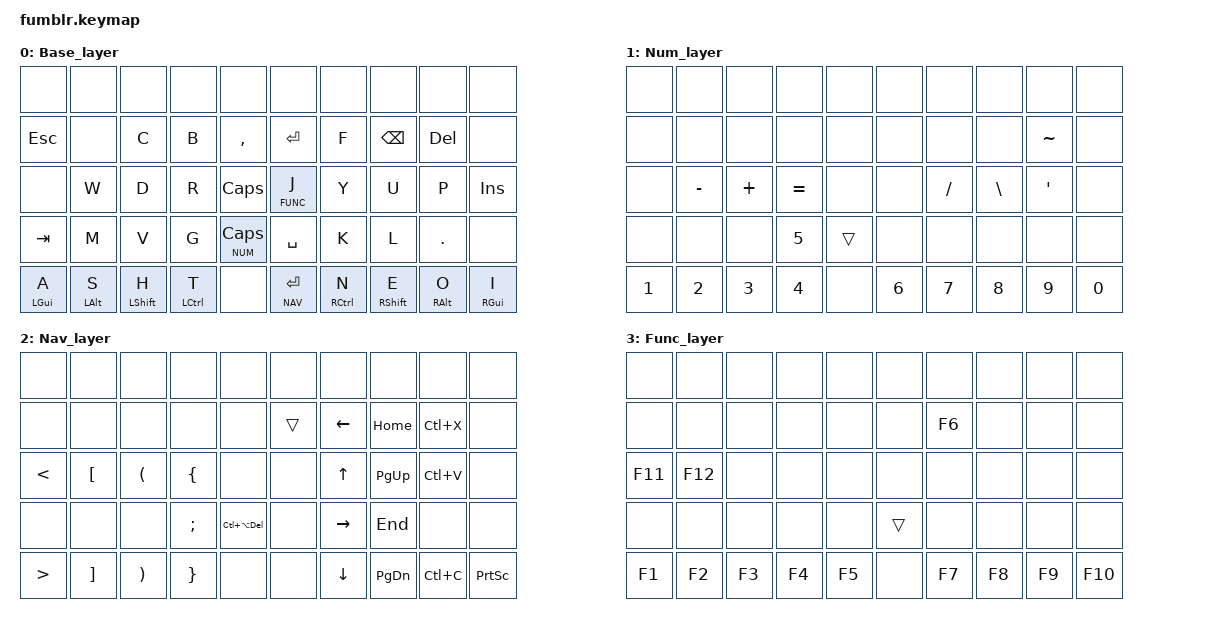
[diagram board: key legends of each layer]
#include <behaviors.dtsi>
#include <dt-bindings/zmk/keys.h>
#include <dt-bindings/zmk/bt.h>

#define BASE 0
#define NUM 1
#define NAV 2
#define FUNC 3

/ {
  combos {
    compatible = "zmk,combos";

    combo_BTCLR {
      timeout-ms = <50>;
      key-positions = <22 23>;
      layers = <NAV>;
      bindings = <&bt BT_CLR>;
    };

    combo_BT1 {
      timeout-ms = <50>;
      key-positions = <20 21>;
      layers = <NAV>;
      bindings = <&bt BT_SEL 1>;
    };

    combo_BT2 {
      timeout-ms = <50>;
      key-positions = <40 41>;
      layers = <NAV>;
      bindings = <&bt BT_SEL 2>;
    };

    combo_J {
      timeout-ms = <50>;
      key-positions = <26 27>;
      layers = <BASE>;
      bindings = <&kp J>;
    };

    combo_Q {
      timeout-ms = <50>;
      key-positions = <21 22>;
      layers = <BASE>;
      bindings = <&kp Q>;
    };

    combo_Z {
      timeout-ms = <50>;
      key-positions = <41 42>;
      layers = <BASE>;
      bindings = <&kp Z>;
    };

    combo_X {
      timeout-ms = <50>;
      key-positions = <42 43>;
      layers = <BASE>;
      bindings = <&kp X>;
    };
  };

  behaviors {
    hm: homerow_mods {
      compatible = "zmk,behavior-hold-tap";
      #binding-cells = <2>;
      tapping-term-ms = <250>;
      flavor = "tap-preferred";
      bindings = <&kp>, <&kp>;
    };
  };
  keymap {
    compatible = "zmk,keymap";

    Base_layer {
      bindings = <
        &none       &none        &none        &none        &none                &none           &none        &none          &none       &none
        &kp ESC     &none        &kp C        &kp B        &kp COMMA            &kp RETURN      &kp F        &kp BACKSPACE  &kp DEL     &none
        &none       &kp W        &kp D        &kp R        &kp CAPSLOCK         &lt FUNC J      &kp Y        &kp U          &kp P       &kp INS
        &kp TAB     &kp M        &kp V        &kp G        &lt NUM CAPSLOCK     &kp SPACE       &kp K        &kp L          &kp DOT     &none
        &hm LGUI A  &hm LALT S   &hm LSHFT H  &hm LCTRL T  &none                &lt NAV RETURN  &hm RCTRL N  &hm RSHFT E    &hm RALT O  &hm RGUI I
      >;
    };

    Num_layer {
      bindings = <
        &none         &none         &none         &none         &none               &none         &none         &none          &none             &none
        &none         &none         &none         &none         &none               &none         &none         &none          &kp TILDE         &none
        &none         &kp MINUS     &kp PLUS      &kp EQUAL     &none               &none         &kp SLASH     &kp BACKSLASH  &kp SINGLE_QUOTE  &none
        &none         &none         &none         &kp NUMBER_5  &trans              &none         &none         &none          &none             &none
        &kp NUMBER_1  &kp NUMBER_2  &kp NUMBER_3  &kp NUMBER_4  &none               &kp NUMBER_6  &kp NUMBER_7  &kp NUMBER_8   &kp NUMBER_9      &kp NUMBER_0
      >;
    };

    Nav_layer {
      bindings = <
        &none   &none              &none                  &none            &none               &none   &none      &none       &none      &none
        &none   &none              &none                  &none            &none               &trans  &kp LEFT   &kp HOME    &kp LC(X)  &none
        &kp LT  &kp LEFT_BRACKET   &kp LEFT_PARENTHESIS   &kp LEFT_BRACE   &none               &none   &kp UP     &kp PG_UP   &kp LC(V)  &none
        &none   &none              &none                  &kp SEMICOLON    &kp LC(LA(DEL))     &none   &kp RIGHT  &kp END     &none      &none
        &kp GT  &kp RIGHT_BRACKET  &kp RIGHT_PARENTHESIS  &kp RIGHT_BRACE  &none               &none   &kp DOWN   &kp PG_DN   &kp LC(C)  &kp PRINTSCREEN
      >;
    };

    Func_layer {
      bindings = <
        &none    &none    &none   &none   &none        &none   &none   &none   &none   &none
        &none    &none    &none   &none   &none        &none   &kp F6  &none   &none   &none
        &kp F11  &kp F12  &none   &none   &none        &none   &none   &none   &none   &none
        &none    &none    &none   &none   &none        &trans  &none   &none   &none   &none
        &kp F1   &kp F2   &kp F3  &kp F4  &kp F5       &none   &kp F7  &kp F8  &kp F9  &kp F10
      >;
    };

  };
};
